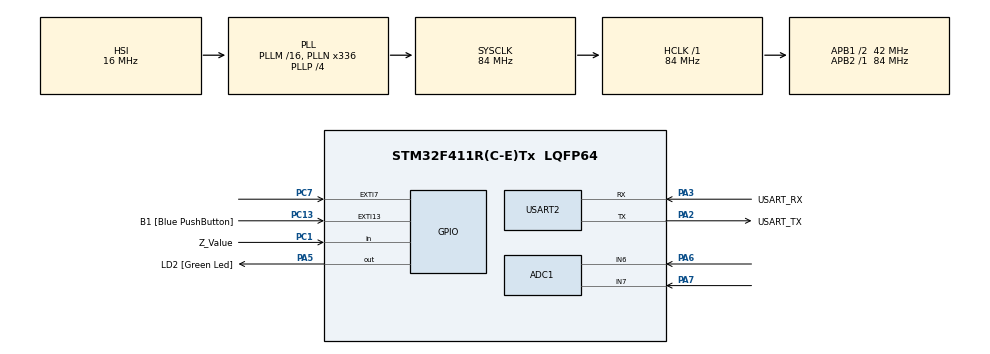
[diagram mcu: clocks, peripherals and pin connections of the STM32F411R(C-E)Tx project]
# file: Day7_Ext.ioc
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ADC1.Channel-0\#ChannelRegularConversion=ADC_CHANNEL_6
ADC1.Channel-1\#ChannelRegularConversion=ADC_CHANNEL_7
ADC1.NbrOfConversion=2
ADC1.NbrOfConversionFlag=1
ADC1.Rank-0\#ChannelRegularConversion=1
ADC1.Rank-1\#ChannelRegularConversion=2
ADC1.SamplingTime-0\#ChannelRegularConversion=ADC_SAMPLETIME_84CYCLES
ADC1.SamplingTime-1\#ChannelRegularConversion=ADC_SAMPLETIME_84CYCLES
ADC1.ScanConvMode=ENABLE
ADC1.master=1
Mcu.Family=STM32F4
Mcu.Name=STM32F411R(C-E)Tx
Mcu.Package=LQFP64
NVIC.EXTI9_5_IRQn=true\:0\:0\:false\:false\:true\:true\:true\:true
NVIC.PriorityGroup=NVIC_PRIORITYGROUP_0
NVIC.TIM4_IRQn=true\:0\:0\:false\:false\:true\:true\:true\:true
PA13.GPIO_Label=TMS
PA13.Mode=Serial_Wire
PA13.Signal=SYS_JTMS-SWDIO
PA14.GPIO_Label=TCK
PA14.Mode=Serial_Wire
PA14.Signal=SYS_JTCK-SWCLK
PA2.GPIO_Label=USART_TX
PA2.Mode=Asynchronous
PA2.Signal=USART2_TX
PA3.GPIO_Label=USART_RX
PA3.Mode=Asynchronous
PA3.Signal=USART2_RX
PA5.GPIO_Label=LD2 [Green Led]
PA5.Signal=GPIO_Output
PA6.Signal=ADCx_IN6
PA7.Signal=ADCx_IN7
PB3.GPIO_Label=SWO
PB3.Signal=SYS_JTDO-SWO
PC1.GPIO_Label=Z_Value
PC1.Signal=GPIO_Input
PC13-ANTI_TAMP.GPIO_Label=B1 [Blue PushButton]
PC13-ANTI_TAMP.GPIO_ModeDefaultEXTI=GPIO_MODE_IT_FALLING
PC13-ANTI_TAMP.Signal=GPXTI13
PC14-OSC32_IN.Mode=LSE-External-Oscillator
PC14-OSC32_IN.Signal=RCC_OSC32_IN
PC15-OSC32_OUT.Mode=LSE-External-Oscillator
PC15-OSC32_OUT.Signal=RCC_OSC32_OUT
PC7.Signal=GPXTI7
PH0\ -\ OSC_IN.Mode=HSE-External-Clock-Source
PH0\ -\ OSC_IN.Signal=RCC_OSC_IN
PH1\ -\ OSC_OUT.Mode=HSE-External-Clock-Source
PH1\ -\ OSC_OUT.Signal=RCC_OSC_OUT
ProjectManager.HeapSize=0x200
ProjectManager.StackSize=0x400
ProjectManager.TargetToolchain=STM32CubeIDE
RCC.48MHZClocksFreq_Value=84000000
RCC.AHBFreq_Value=84000000
RCC.APB1CLKDivider=RCC_HCLK_DIV2
RCC.APB1Freq_Value=42000000
RCC.APB1TimFreq_Value=84000000
RCC.APB2Freq_Value=84000000
RCC.APB2TimFreq_Value=84000000
RCC.CortexFreq_Value=84000000
RCC.FLatency-AdvancedSettings=FLASH_LATENCY_2
RCC.HCLKFreq_Value=84000000
RCC.HSE_VALUE=8000000
RCC.HSI_VALUE=16000000
RCC.PLLN=336
RCC.PLLP=RCC_PLLP_DIV4
RCC.SYSCLKFreq_VALUE=84000000
RCC.SYSCLKSource=RCC_SYSCLKSOURCE_PLLCLK
RCC.VCOOutputFreq_Value=336000000
SH.ADCx_IN6.0=ADC1_IN6,IN6
SH.ADCx_IN7.0=ADC1_IN7,IN7
TIM4.Period=10000-1
TIM4.Prescaler=8400-1
USART2.VirtualMode=VM_ASYNC
VP_TIM4_VS_ClockSourceINT.Mode=Internal
board=NUCLEO-F411RE

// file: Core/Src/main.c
/* USER CODE BEGIN Header */
/**
  ******************************************************************************
  * @file           : main.c
  * @brief          : Main program body
  ******************************************************************************
  * @attention
  *
  * Copyright (c) 2023 STMicroelectronics.
  * All rights reserved.
  *
  * This software is licensed under terms that can be found in the LICENSE file
  * in the root directory of this software component.
  * If no LICENSE file comes with this software, it is provided AS-IS.
  *
  ******************************************************************************
  */
/* USER CODE END Header */
#include "main.h"

ADC_HandleTypeDef hadc1;

TIM_HandleTypeDef htim4;

UART_HandleTypeDef huart2;

/* USER CODE BEGIN PV */
int xVal=0, yVal=0, zVal=0; // 조이스틱 및 버튼 상태 변수
int cnt = 0; // ADC 변환 카운트 변수
int dir = 0; // 방향 변수
// 방향 문자열 배열
char *dirs[] = {"Front      ", "Front-Left ", "Left       ", "Back-Left  ", "Back       " , "Back-Right ", "Right      ", "Front-Right", "Push", "    "};

/* USER CODE END PV */

void SystemClock_Config(void);
static void MX_GPIO_Init(void);
static void MX_USART2_UART_Init(void);
static void MX_ADC1_Init(void);
static void MX_TIM4_Init(void);

/* USER CODE BEGIN 0 */

// UART 사용을 위한 putchar 함수
int __io_putchar(int ch)
{
   HAL_UART_Transmit(&huart2, &ch, 1, 100);
   return ch;
}

// 조이스틱 방향 계산 함수
void GetDirection()
{
         if(xVal > 3000)
         {
            if(yVal > 3000) dir = 5;
            else if(yVal >1000) dir = 6;
            else dir =7;
         }
         else if(xVal < 1000)
         {
            if(yVal > 3000) dir = 3;
            else if(yVal >1000) dir = 2;
            else dir = 1;
         }
         else
         {
            if(yVal > 3000) dir = 4;
            else dir = 0;
         }
}

// 조이스틱 테스트 함수
void Joystick_Test() //Read X and Y axis, convert to digital. zAxics also.
{
   int click_i;

   // ADC 변환 시작 및 값 읽기
   HAL_ADC_Start(&hadc1);
   HAL_ADC_PollForConversion(&hadc1, 100);
   xVal = HAL_ADC_GetValue(&hadc1);

   HAL_ADC_PollForConversion(&hadc1, 100);
   yVal = HAL_ADC_GetValue(&hadc1);

   HAL_ADC_Stop(&hadc1);

   // 버튼 상태 확인
   zVal = !(HAL_GPIO_ReadPin(Z_Value_GPIO_Port, Z_Value_Pin));

   if (zVal) click_i = 8;
   else click_i = 9;

   // 조이스틱 방향 계산
   GetDirection();

   // 화면에 정보 출력
   printf("x:%-5d y:%-5d z:%-3d  Direction : %-12s  Status : %-6s   \r\n", xVal, yVal, zVal, dirs[dir], dirs[click_i]);
}

// ADC 변환 완료 콜백 함수
void HAL_ADC_ConvCPpltCallback(ADC_HandleTypeDef* hadc) //ADC interrupt callback funtion
{

	int click_i;

   if(cnt == 0)
   {
      xVal = HAL_ADC_GetValue(&hadc1);
   }
   if(cnt == 1)
   {
      yVal = HAL_ADC_GetValue(&hadc1);
   }
   if(++cnt > 1)
   {
      zVal = HAL_GPIO_ReadPin(Z_Value_GPIO_Port, Z_Value_Pin);

      if (zVal) click_i = 8;
      else click_i = 9;

      GetDirection();

      printf("x:%d y:%d z:%d  Direction : %s  Status : %s   \r\n", xVal, yVal, zVal, dirs[dir], dirs[click_i]);
      cnt = 0;//once in Interrupt Service Routine
   }

   HAL_ADC_Start_IT(&hadc1);
}

// 일반 타이머 콜백 함수
void HAL_TIM_PeriodElapsedCallback(TIM_HandleTypeDef *htim) //General Timer handler cause not have word about timer4
{
   if(htim->Instance == TIM4) // TIM4 사용 시에만 Joystick_Test 함수 실행
         Joystick_Test();
}

// 외부 인터럽트 콜백 함수
void HAL_GPIO_EXTI_Callback(uint16_t GPIO_Pin) // Generarl Callback
{
	if(GPIO_Pin == GPIO_PIN_7)
		Joystick_Test();
}
/* USER CODE END 0 */

int main(void)
{

  /* MCU Configuration--------------------------------------------------------*/

  /* Reset of all peripherals, Initializes the Flash interface and the Systick. */
  HAL_Init();

  /* Configure the system clock */
  SystemClock_Config();

  /* Initialize all configured peripherals */
  MX_GPIO_Init();
  MX_USART2_UART_Init();
  MX_ADC1_Init();
  MX_TIM4_Init();
  /* USER CODE BEGIN 2 */
  //HAL_ADC_Start_IT(&hadc1); // ADC Interrupt Start
  //HAL_TIM_Base_Start_IT(&htim4); // Timer Interrupt Start
  printf("Program Start!\r\n");
  /* USER CODE END 2 */

  /* Infinite loop */
  while (1)
  {

  }
}

void SystemClock_Config(void)
{
  RCC_OscInitTypeDef RCC_OscInitStruct = {0};
  RCC_ClkInitTypeDef RCC_ClkInitStruct = {0};

  /** Configure the main internal regulator output voltage
  */
  __HAL_RCC_PWR_CLK_ENABLE();
  __HAL_PWR_VOLTAGESCALING_CONFIG(PWR_REGULATOR_VOLTAGE_SCALE1);

  /** Initializes the RCC Oscillators according to the specified parameters
  * in the RCC_OscInitTypeDef structure.
  */
  RCC_OscInitStruct.OscillatorType = RCC_OSCILLATORTYPE_HSI;
  RCC_OscInitStruct.HSIState = RCC_HSI_ON;
  RCC_OscInitStruct.HSICalibrationValue = RCC_HSICALIBRATION_DEFAULT;
  RCC_OscInitStruct.PLL.PLLState = RCC_PLL_ON;
  RCC_OscInitStruct.PLL.PLLSource = RCC_PLLSOURCE_HSI;
  RCC_OscInitStruct.PLL.PLLM = 16;
  RCC_OscInitStruct.PLL.PLLN = 336;
  RCC_OscInitStruct.PLL.PLLP = RCC_PLLP_DIV4;
  RCC_OscInitStruct.PLL.PLLQ = 4;
  if (HAL_RCC_OscConfig(&RCC_OscInitStruct) != HAL_OK)
  {
    Error_Handler();
  }

  /** Initializes the CPU, AHB and APB buses clocks
  */
  RCC_ClkInitStruct.ClockType = RCC_CLOCKTYPE_HCLK|RCC_CLOCKTYPE_SYSCLK
                              |RCC_CLOCKTYPE_PCLK1|RCC_CLOCKTYPE_PCLK2;
  RCC_ClkInitStruct.SYSCLKSource = RCC_SYSCLKSOURCE_PLLCLK;
  RCC_ClkInitStruct.AHBCLKDivider = RCC_SYSCLK_DIV1;
  RCC_ClkInitStruct.APB1CLKDivider = RCC_HCLK_DIV2;
  RCC_ClkInitStruct.APB2CLKDivider = RCC_HCLK_DIV1;

  if (HAL_RCC_ClockConfig(&RCC_ClkInitStruct, FLASH_LATENCY_2) != HAL_OK)
  {
    Error_Handler();
  }
}

static void MX_ADC1_Init(void)
{

  ADC_ChannelConfTypeDef sConfig = {0};

  /** Configure the global features of the ADC (Clock, Resolution, Data Alignment and number of conversion)
  */
  hadc1.Instance = ADC1;
  hadc1.Init.ClockPrescaler = ADC_CLOCK_SYNC_PCLK_DIV4;
  hadc1.Init.Resolution = ADC_RESOLUTION_12B;
  hadc1.Init.ScanConvMode = ENABLE;
  hadc1.Init.ContinuousConvMode = DISABLE;
  hadc1.Init.DiscontinuousConvMode = DISABLE;
  hadc1.Init.ExternalTrigConvEdge = ADC_EXTERNALTRIGCONVEDGE_NONE;
  hadc1.Init.ExternalTrigConv = ADC_SOFTWARE_START;
  hadc1.Init.DataAlign = ADC_DATAALIGN_RIGHT;
  hadc1.Init.NbrOfConversion = 2;
  hadc1.Init.DMAContinuousRequests = DISABLE;
  hadc1.Init.EOCSelection = ADC_EOC_SINGLE_CONV;
  if (HAL_ADC_Init(&hadc1) != HAL_OK)
  {
    Error_Handler();
  }

  /** Configure for the selected ADC regular channel its corresponding rank in the sequencer and its sample time.
  */
  sConfig.Channel = ADC_CHANNEL_6;
  sConfig.Rank = 1;
  sConfig.SamplingTime = ADC_SAMPLETIME_84CYCLES;
  if (HAL_ADC_ConfigChannel(&hadc1, &sConfig) != HAL_OK)
  {
    Error_Handler();
  }

  /** Configure for the selected ADC regular channel its corresponding rank in the sequencer and its sample time.
  */
  sConfig.Channel = ADC_CHANNEL_7;
  sConfig.Rank = 2;
  if (HAL_ADC_ConfigChannel(&hadc1, &sConfig) != HAL_OK)
  {
    Error_Handler();
  }

}

static void MX_TIM4_Init(void)
{

  TIM_ClockConfigTypeDef sClockSourceConfig = {0};
  TIM_MasterConfigTypeDef sMasterConfig = {0};

  htim4.Instance = TIM4;
  htim4.Init.Prescaler = 8400-1;
  htim4.Init.CounterMode = TIM_COUNTERMODE_UP;
  htim4.Init.Period = 10000-1;
  htim4.Init.ClockDivision = TIM_CLOCKDIVISION_DIV1;
  htim4.Init.AutoReloadPreload = TIM_AUTORELOAD_PRELOAD_DISABLE;
  if (HAL_TIM_Base_Init(&htim4) != HAL_OK)
  {
    Error_Handler();
  }
  sClockSourceConfig.ClockSource = TIM_CLOCKSOURCE_INTERNAL;
  if (HAL_TIM_ConfigClockSource(&htim4, &sClockSourceConfig) != HAL_OK)
  {
    Error_Handler();
  }
  sMasterConfig.MasterOutputTrigger = TIM_TRGO_RESET;
  sMasterConfig.MasterSlaveMode = TIM_MASTERSLAVEMODE_DISABLE;
  if (HAL_TIMEx_MasterConfigSynchronization(&htim4, &sMasterConfig) != HAL_OK)
  {
    Error_Handler();
  }

}

static void MX_USART2_UART_Init(void)
{

  huart2.Instance = USART2;
  huart2.Init.BaudRate = 115200;
  huart2.Init.WordLength = UART_WORDLENGTH_8B;
  huart2.Init.StopBits = UART_STOPBITS_1;
  huart2.Init.Parity = UART_PARITY_NONE;
  huart2.Init.Mode = UART_MODE_TX_RX;
  huart2.Init.HwFlowCtl = UART_HWCONTROL_NONE;
  huart2.Init.OverSampling = UART_OVERSAMPLING_16;
  if (HAL_UART_Init(&huart2) != HAL_OK)
  {
    Error_Handler();
  }

}

static void MX_GPIO_Init(void)
{
  GPIO_InitTypeDef GPIO_InitStruct = {0};

  /* GPIO Ports Clock Enable */
  __HAL_RCC_GPIOC_CLK_ENABLE();
  __HAL_RCC_GPIOH_CLK_ENABLE();
  __HAL_RCC_GPIOA_CLK_ENABLE();
  __HAL_RCC_GPIOB_CLK_ENABLE();

  /*Configure GPIO pin Output Level */
  HAL_GPIO_WritePin(LD2_GPIO_Port, LD2_Pin, GPIO_PIN_RESET);

  /*Configure GPIO pin : B1_Pin */
  GPIO_InitStruct.Pin = B1_Pin;
  GPIO_InitStruct.Mode = GPIO_MODE_IT_FALLING;
  GPIO_InitStruct.Pull = GPIO_NOPULL;
  HAL_GPIO_Init(B1_GPIO_Port, &GPIO_InitStruct);

  /*Configure GPIO pin : Z_Value_Pin */
  GPIO_InitStruct.Pin = Z_Value_Pin;
  GPIO_InitStruct.Mode = GPIO_MODE_INPUT;
  GPIO_InitStruct.Pull = GPIO_PULLUP;
  HAL_GPIO_Init(Z_Value_GPIO_Port, &GPIO_InitStruct);

  /*Configure GPIO pin : LD2_Pin */
  GPIO_InitStruct.Pin = LD2_Pin;
  GPIO_InitStruct.Mode = GPIO_MODE_OUTPUT_PP;
  GPIO_InitStruct.Pull = GPIO_NOPULL;
  GPIO_InitStruct.Speed = GPIO_SPEED_FREQ_LOW;
  HAL_GPIO_Init(LD2_GPIO_Port, &GPIO_InitStruct);

  /*Configure GPIO pin : PC7 */
  GPIO_InitStruct.Pin = GPIO_PIN_7;
  GPIO_InitStruct.Mode = GPIO_MODE_IT_RISING;
  GPIO_InitStruct.Pull = GPIO_NOPULL;
  HAL_GPIO_Init(GPIOC, &GPIO_InitStruct);

  /* EXTI interrupt init*/
  HAL_NVIC_SetPriority(EXTI9_5_IRQn, 0, 0);
  HAL_NVIC_EnableIRQ(EXTI9_5_IRQn);

}

void Error_Handler(void)
{
  __disable_irq();
  while (1)
  {
  }
}
